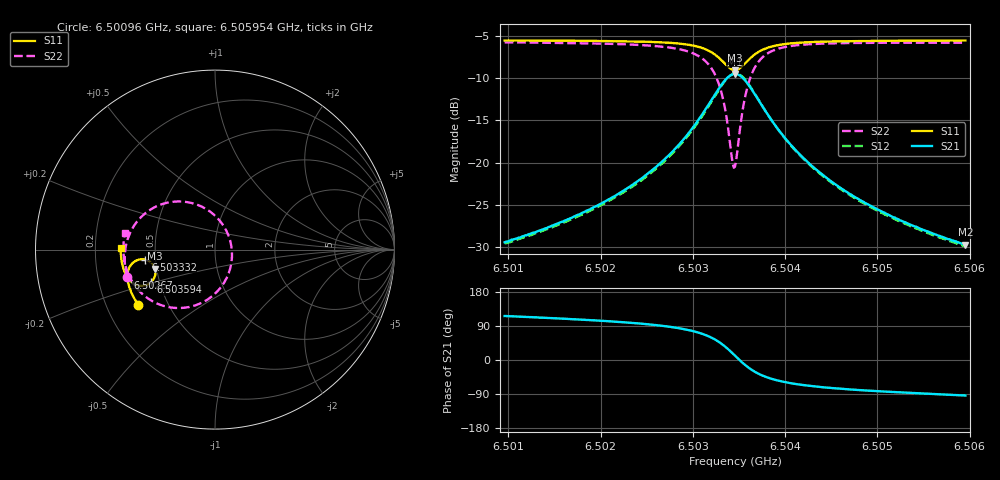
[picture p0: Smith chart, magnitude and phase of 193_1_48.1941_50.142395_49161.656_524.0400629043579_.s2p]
#  HZ  S  RI  R  50.00
! Rohde & Schwarz Vector Network Analyzer
! Rohde-Schwarz,ZNB20-2Port,1311601062101988,3.16
! Created: UTC 3/20/2024, 11:44:42 AM
! freq[Hz]  re:S11  im:S11  re:S21  im:S21  re:S12  im:S12  re:S22  im:S22
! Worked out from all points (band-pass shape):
!   401 points, 6.50096 GHz to 6.505954 GHz, reference 50 ohm
!   highest |S21| = -9.53 dB at 6.503457 GHz (marker M1); lowest = -29.7 dB at 6.505954 GHz (marker M2)
!   |S21| within 3 dB of the highest: 6.503207 GHz to 6.503706 GHz (499.6 kHz wide, 0.00768 % of centre)
!   lowest |S11| = -9.1 dB at 6.503457 GHz (marker M3), VSWR 2.08, Z = 24.4 - j5.9 ohm
!   |S11| at or under -10 dB: nowhere
!   |S22| runs from -20.6 to -5.8 dB; largest |S21 - S12| = 0.012
!   S11 on the Smith chart (normalised r, x): 6.50096 GHz: 0.34, -0.29; 6.50267 GHz: 0.33, -0.14; 6.503332 GHz: 0.44, -0.06; 6.503594 GHz: 0.45, -0.19; 6.505954 GHz: 0.31, +0.01
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6.50096e9  -0.4268 -0.3085  -0.0149 0.0303  -0.0132 0.0305  -0.4901 -0.1531
6.5017965e9  -0.4625 -0.2464  -0.0143 0.0482  -0.0118 0.0477  -0.5032 -0.064
6.5022584e9  -0.4788 -0.2053  -0.0112 0.0678  -0.00822 0.0666  -0.4999 0.0019
6.5026329e9  -0.4874 -0.1638  -0.00208 0.0974  0.00159 0.0951  -0.4799 0.0775
6.5026704e9  -0.4879 -0.1589  -0.000141 0.1017  0.00349 0.0992  -0.4759 0.087
6.5029451e9  -0.4837 -0.116  0.0268 0.1445  0.0306 0.14  -0.4196 0.1733
6.5031323e9  -0.4619 -0.0778  0.0818 0.1869  0.0843 0.1806  -0.3144 0.2461
6.5032447e9  -0.4288 -0.0572  0.1519 0.2044  0.1526 0.198  -0.1881 0.2679
6.5033321e9  -0.3879 -0.0557  0.2324 0.1875  0.2327 0.1825  -0.0493 0.226
6.5034195e9  -0.3456 -0.0842  0.3096 0.114  0.3119 0.1094  0.0739 0.0811
6.5034444e9  -0.3378 -0.0981  0.323 0.0827  0.3259 0.0773  0.0905 0.0221
6.5034569e9  -0.3349 -0.1059  0.3271 0.0659  0.3305 0.0601  0.0942 -0.00895
6.5034819e9  -0.3321 -0.1218  0.3305 0.0319  0.334 0.0248  0.0918 -0.0714
6.5035443e9  -0.3395 -0.1595  0.3114 -0.0471  0.3138 -0.0571  0.0342 -0.2082
6.5035942e9  -0.3561 -0.1817  0.2773 -0.0927  0.2769 -0.1042  -0.0436 -0.2796
6.5036941e9  -0.3964 -0.2006  0.2005 -0.1355  0.1955 -0.1455  -0.2002 -0.3255
6.5038564e9  -0.445 -0.193  0.1139 -0.1353  0.1068 -0.1407  -0.3578 -0.2822
6.5040437e9  -0.4752 -0.1702  0.0643 -0.1135  0.058 -0.1158  -0.4381 -0.2117
6.5042934e9  -0.4961 -0.1403  0.0342 -0.0889  0.0294 -0.0893  -0.4817 -0.1388
6.5046679e9  -0.5116 -0.101  0.0151 -0.0653  0.0117 -0.0649  -0.5042 -0.0636
6.5051298e9  -0.521 -0.0582  0.00513 -0.0486  0.00278 -0.0479  -0.5104 0.00215
6.5059538e9  -0.5259 0.0117  -0.00212 -0.0326  -0.00337 -0.0319  -0.5027 0.0898
